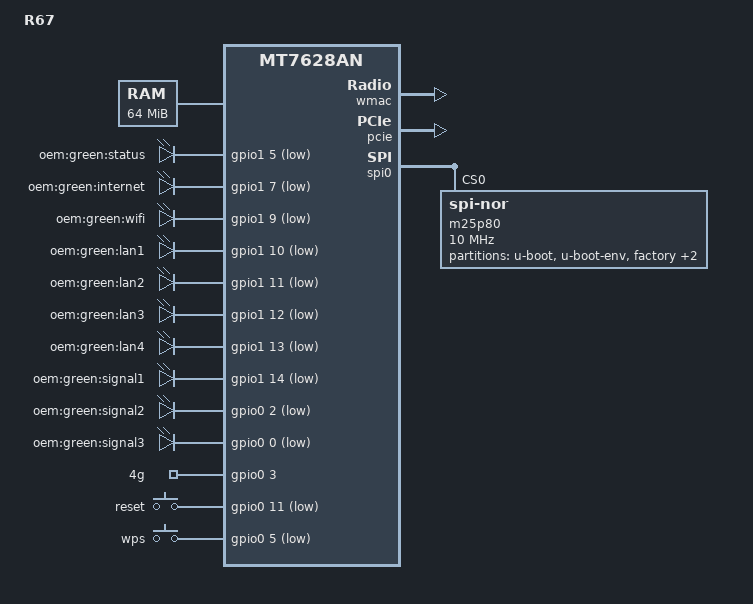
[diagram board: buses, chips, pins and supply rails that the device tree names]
/dts-v1/;

#include "mt7628an.dtsi"

#include <dt-bindings/input/input.h>
#include <dt-bindings/gpio/gpio.h>

/ {
	compatible = "OEM,MT7628", "mediatek,mt7628an-soc";
	model = "R67";

	chosen {
		bootargs = "console=ttyS0,115200";
	};

	memory@0 {
		device_type = "memory";
		reg = <0x0 0x4000000>;
	};

	gpio-leds {
		compatible = "gpio-leds";
		status {
			label = "oem:green:status";
			gpios = <&gpio1 5 GPIO_ACTIVE_LOW>;
		};

		internet {
			label = "oem:green:internet";
			gpios = <&gpio1 7 GPIO_ACTIVE_LOW>;
		};

		wifi {
			label = "oem:green:wifi";
			gpios = <&gpio1 9 GPIO_ACTIVE_LOW>;
		};

		lan1 {
			label = "oem:green:lan1";
			gpios = <&gpio1 10 GPIO_ACTIVE_LOW>;
		};

		lan2 {
			label = "oem:green:lan2";
			gpios = <&gpio1 11 GPIO_ACTIVE_LOW>;
		};

		lan3 {
			label = "oem:green:lan3";
			gpios = <&gpio1 12 GPIO_ACTIVE_LOW>;
		};

		lan4 {
			label = "oem:green:lan4";
			gpios = <&gpio1 13 GPIO_ACTIVE_LOW>;
		};

		signal1 {
			label = "oem:green:signal1";
			gpios = <&gpio1 14 GPIO_ACTIVE_LOW>;
		};

		signal2 {
			label = "oem:green:signal2";
			gpios = <&gpio0 2 GPIO_ACTIVE_LOW>;
		};

		signal3 {
			label = "oem:green:signal3";
			gpios = <&gpio0 0 GPIO_ACTIVE_LOW>;
		};
	};

	gpio_export {
		compatible = "gpio-export";
		#size-cells = <0>;

		usb4g {
			gpio-export,name = "4g";
			gpio-export,output = <0>;
			gpios = <&gpio0 3 GPIO_ACTIVE_HIGH>;
		};
	};

	gpio-keys-polled {
		compatible = "gpio-keys-polled";
		#address-cells = <1>;
		#size-cells = <0>;
		poll-interval = <20>;
		reset {
			label = "reset";
			gpios = <&gpio0 11 GPIO_ACTIVE_LOW>;
			linux,code = <KEY_RESTART>;
		};

		wps {
			label = "wps";
			gpios = <&gpio0 5 GPIO_ACTIVE_LOW>;
			linux,code = <KEY_WPS_BUTTON>;
		};
	};
};

&ethernet {
	mtd-mac-address = <&bdinfo 0xDE00>;
	mediatek,port-map = "lllwl";
};

&pinctrl {
	state_default: pinctrl0 {
		gpio {
			ralink,group = "refclk", "wled_an", "gpio", "spi cs1";
			ralink,function = "gpio";
		};
	};
};

&wmac {
	status = "okay";
};

&pcie {
	status = "okay";
};

&spi0 {
	status = "okay";

	m25p80@0 {
		#address-cells = <1>;
		#size-cells = <1>;
		compatible = "jedec,spi-nor";
		reg = <0>;
		spi-max-frequency = <10000000>;
		m25p,chunked-io = <32>;

		partition@0 {
			label = "u-boot";
			reg = <0x0 0x30000>;
		};

		partition@30000 {
			label = "u-boot-env";
			reg = <0x30000 0x10000>;
		};

		factory: partition@40000 {
			label = "factory";
			reg = <0x40000 0x10000>;
		};

		bdinfo: partition@7f0000 {
			label = "bdinfo";
			reg = <0x7f0000 0x10000>;
		};

		partition@50000 {
			label = "firmware";
			reg = <0x50000 0x7a0000>;
		};
	};
};
